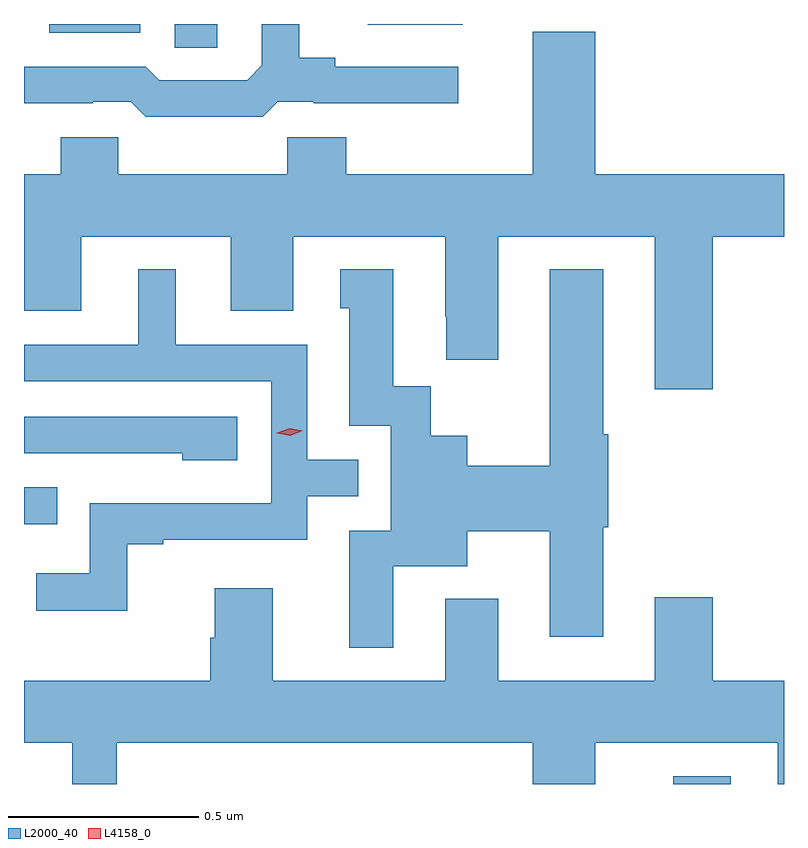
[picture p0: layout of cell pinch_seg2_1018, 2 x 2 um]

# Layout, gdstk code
import gdstk
lib = gdstk.Library(unit=1e-6, precision=1e-09)
def R(c, l, rs):  # rectangles x0, y0, x1, y1
    for r in rs: c.add(gdstk.rectangle(r[:2], r[2:], *l))
def P(c, l, *ps):  # polygons
    for p in ps: c.add(gdstk.Polygon(p, *l))
L2000_40 = (2000, 40)
L4158_0 = (4158, 0)

pinch_seg2_1018 = lib.new_cell('pinch_seg2_1018')
R(pinch_seg2_1018, L2000_40, [(141.401,648.86,141.553,648.88), (139.693,649.544,139.781,649.641), (140.09,650.797,140.202,650.86), (139.76,650.837,139.999,650.86), (140.597,650.858,140.848,650.86)])
P(pinch_seg2_1018, L2000_40, [(140.361,650.655),(140.455,650.655),(140.455,650.651),(140.836,650.651),(140.836,650.748),(140.512,650.748),(140.512,650.771),(140.417,650.771),(140.417,650.86),(140.319,650.86),(140.319,650.751),(140.28,650.712),(140.049,650.712),(140.013,650.748),(139.693,650.748),(139.693,650.651),(139.874,650.651),(139.874,650.655),(139.974,650.655),(140.014,650.616),(140.321,650.616)],
  [(141.506,650.3),(141.693,650.3),(141.693,650.464),(141.196,650.464),(141.196,650.839),(141.032,650.839),(141.032,650.464),(140.541,650.464),(140.541,650.562),(140.386,650.562),(140.386,650.464),(139.941,650.464),(139.941,650.562),(139.79,650.562),(139.79,650.464),(139.693,650.464),(139.693,650.106),(139.843,650.106),(139.843,650.3),(140.237,650.3),(140.237,650.106),(140.401,650.106),(140.401,650.3),(140.801,650.3),(140.801,650.089),(140.804,650.089),(140.804,649.977),(140.941,649.977),(140.941,650.3),(141.353,650.3),(141.353,649.899),(141.506,649.899)],
  [(139.965,649.491),(140.059,649.491),(140.059,649.503),(140.439,649.503),(140.439,649.617),(140.572,649.617),(140.572,649.713),(140.439,649.713),(140.439,650.016),(140.092,650.016),(140.092,650.215),(139.994,650.215),(139.994,650.016),(139.693,650.016),(139.693,649.92),(140.343,649.92),(140.343,649.599),(139.866,649.599),(139.866,649.414),(139.725,649.414),(139.725,649.316),(139.965,649.316)],
  [(140.665,649.433),(140.86,649.433),(140.86,649.525),(141.077,649.525),(141.077,649.248),(141.217,649.248),(141.217,649.536),(141.23,649.536),(141.23,649.78),(141.217,649.78),(141.217,650.215),(141.077,650.215),(141.077,649.697),(140.86,649.697),(140.86,649.777),(140.763,649.777),(140.763,649.907),(140.665,649.907),(140.665,650.215),(140.525,650.215),(140.525,650.112),(140.549,650.112),(140.549,649.803),(140.658,649.803),(140.658,649.527),(140.549,649.527),(140.549,649.218),(140.665,649.218)],
  [(140.254,649.827),(139.693,649.827),(139.693,649.731),(139.873,649.731),(139.873,649.73),(140.109,649.73),(140.109,649.712),(140.254,649.712)],
  [(141.032,648.86),(141.196,648.86),(141.196,648.968),(141.677,648.968),(141.677,648.86),(141.693,648.86),(141.693,649.132),(141.506,649.132),(141.506,649.351),(141.353,649.351),(141.353,649.132),(140.941,649.132),(140.941,649.348),(140.801,649.348),(140.801,649.132),(140.347,649.132),(140.347,649.375),(140.195,649.375),(140.195,649.245),(140.183,649.245),(140.183,649.132),(139.693,649.132),(139.693,648.968),(139.82,648.968),(139.82,648.86),(139.937,648.86),(139.937,648.968),(141.032,648.968)])
P(pinch_seg2_1018, L4158_0, [(140.394,649.776),(140.359,649.783),(140.358,649.784),(140.359,649.784),(140.392,649.796),(140.427,649.789),(140.427,649.789),(140.427,649.789)])

lib.write_gds('pinch_seg2_1018.gds')
